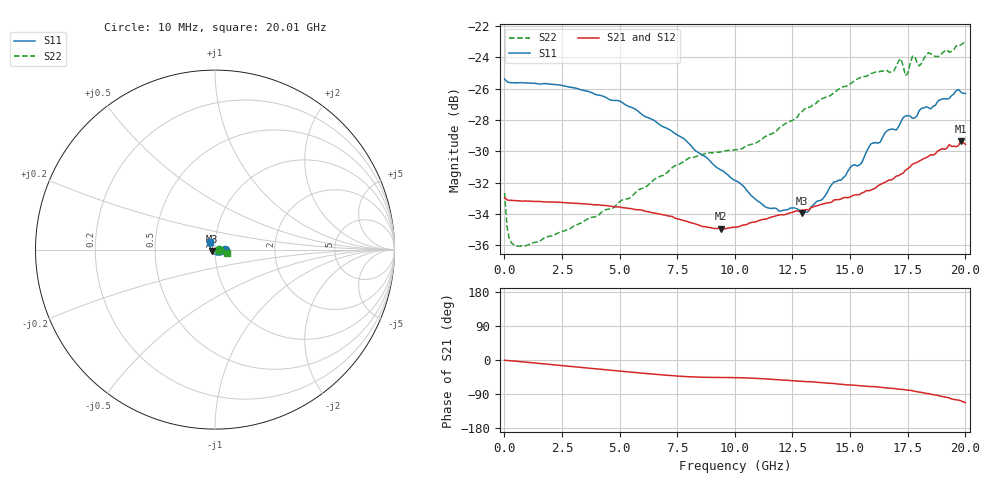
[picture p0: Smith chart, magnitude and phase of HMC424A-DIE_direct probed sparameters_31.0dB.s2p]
!s2p File: Measurements: S11, S21, S12, S22
# GHz S dB R 50.0
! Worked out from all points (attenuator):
!   201 points, 10 MHz to 20.01 GHz, reference 50 ohm
!   highest |S21| = -29.35 dB at 19.81 GHz (marker M1); lowest = -35.0 dB at 9.41 GHz (marker M2)
!   lowest |S11| = -34.0 dB at 12.91 GHz (marker M3), VSWR 1.04, Z = 48.2 - j0.77 ohm
!   |S11| at or under -10 dB: start of sweep to end of sweep
!   |S22| runs from -36.1 to -22.9 dB; largest |S21 - S12| = 0.00033
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0.01  -25.38 -0.1  -32.97 -0.6  -33.01 -0.4  -32.67 -4.5
0.11  -25.54 -1.5  -33.10 -1.2  -33.10 -1.2  -34.78 -10.1
0.21  -25.60 -1.9  -33.14 -1.8  -33.14 -1.7  -35.59 -7.1
0.51  -25.62 -3.5  -33.16 -3.3  -33.17 -3.3  -36.05 -1.4
3.41  -26.10 -23.8  -33.35 -20.0  -33.36 -20.1  -34.51 12.0
6.71  -28.27 -51.7  -34.00 -38.6  -34.00 -38.4  -31.63 12.6
8.01  -29.51 -64.0  -34.53 -44.2  -34.53 -44.2  -30.43 8.5
9.41  -31.21 -82.7  -34.96 -46.2  -34.94 -46.2  -30.03 2.7
10.01  -31.87 -91.7  -34.86 -46.6  -34.87 -46.6  -29.90 2.2
11.31  -33.54 -117.8  -34.34 -49.9  -34.33 -49.7  -29.07 4.4
12.91  -33.96 -156.5  -33.75 -56.2  -33.74 -56.3  -27.48 2.8
13.41  -33.43 -168.1  -33.55 -57.7  -33.56 -57.7  -26.99 1.4
15.51  -30.74 154.3  -32.67 -67.9  -32.64 -67.7  -25.24 -6.9
15.91  -29.53 147.8  -32.48 -70.0  -32.48 -69.9  -25.03 -8.5
16.71  -28.61 137.7  -31.83 -74.5  -31.81 -74.4  -24.96 -12.4
17.21  -28.13 136.3  -31.46 -77.5  -31.42 -77.8  -24.08 -15.6
17.41  -27.74 132.8  -31.21 -78.4  -31.22 -78.9  -25.17 -15.8
17.71  -27.89 128.8  -30.83 -81.3  -30.89 -81.7  -23.92 -12.5
18.01  -27.39 127.8  -30.62 -84.7  -30.68 -84.4  -24.54 -14.7
18.41  -27.22 122.7  -30.33 -88.6  -30.38 -88.6  -23.69 -14.7
19.81  -26.21 119.8  -29.35 -107.5  -29.34 -107.4  -23.20 -14.3
20.01  -26.30 121.9  -29.55 -112.3  -29.53 -112.2  -22.91 -13.4
